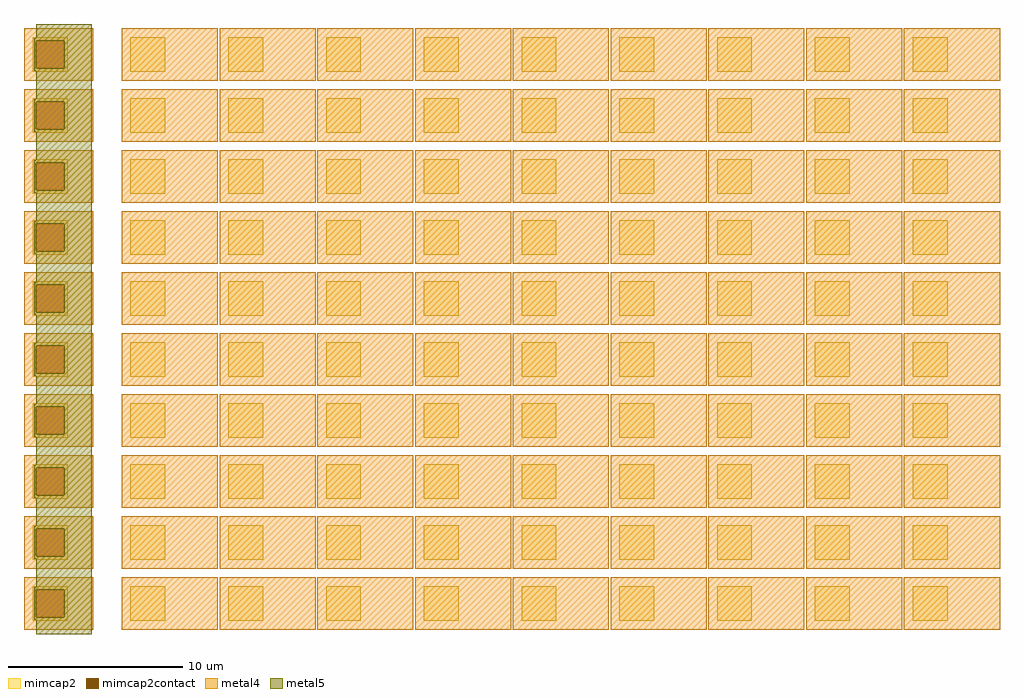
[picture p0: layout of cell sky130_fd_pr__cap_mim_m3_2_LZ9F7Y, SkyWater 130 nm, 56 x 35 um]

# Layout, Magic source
magic
tech sky130A
<< metal4 >>
rect -2800 1425 -2403 1725
rect -2238 1425 -1688 1725
rect -1678 1425 -1127 1725
rect -1117 1425 -566 1725
rect -556 1425 -5 1725
rect 5 1425 556 1725
rect 566 1425 1117 1725
rect 1127 1425 1678 1725
rect 1688 1425 2239 1725
rect 2249 1425 2800 1725
rect -2800 1075 -2403 1375
rect -2238 1075 -1688 1375
rect -1678 1075 -1127 1375
rect -1117 1075 -566 1375
rect -556 1075 -5 1375
rect 5 1075 556 1375
rect 566 1075 1117 1375
rect 1127 1075 1678 1375
rect 1688 1075 2239 1375
rect 2249 1075 2800 1375
rect -2800 725 -2403 1025
rect -2238 725 -1688 1025
rect -1678 725 -1127 1025
rect -1117 725 -566 1025
rect -556 725 -5 1025
rect 5 725 556 1025
rect 566 725 1117 1025
rect 1127 725 1678 1025
rect 1688 725 2239 1025
rect 2249 725 2800 1025
rect -2800 375 -2403 675
rect -2238 375 -1688 675
rect -1678 375 -1127 675
rect -1117 375 -566 675
rect -556 375 -5 675
rect 5 375 556 675
rect 566 375 1117 675
rect 1127 375 1678 675
rect 1688 375 2239 675
rect 2249 375 2800 675
rect -2800 25 -2403 325
rect -2238 25 -1688 325
rect -1678 25 -1127 325
rect -1117 25 -566 325
rect -556 25 -5 325
rect 5 25 556 325
rect 566 25 1117 325
rect 1127 25 1678 325
rect 1688 25 2239 325
rect 2249 25 2800 325
rect -2800 -325 -2403 -25
rect -2238 -325 -1688 -25
rect -1678 -325 -1127 -25
rect -1117 -325 -566 -25
rect -556 -325 -5 -25
rect 5 -325 556 -25
rect 566 -325 1117 -25
rect 1127 -325 1678 -25
rect 1688 -325 2239 -25
rect 2249 -325 2800 -25
rect -2800 -675 -2403 -375
rect -2238 -675 -1688 -375
rect -1678 -675 -1127 -375
rect -1117 -675 -566 -375
rect -556 -675 -5 -375
rect 5 -675 556 -375
rect 566 -675 1117 -375
rect 1127 -675 1678 -375
rect 1688 -675 2239 -375
rect 2249 -675 2800 -375
rect -2800 -1025 -2403 -725
rect -2238 -1025 -1688 -725
rect -1678 -1025 -1127 -725
rect -1117 -1025 -566 -725
rect -556 -1025 -5 -725
rect 5 -1025 556 -725
rect 566 -1025 1117 -725
rect 1127 -1025 1678 -725
rect 1688 -1025 2239 -725
rect 2249 -1025 2800 -725
rect -2800 -1375 -2403 -1075
rect -2238 -1375 -1688 -1075
rect -1678 -1375 -1127 -1075
rect -1117 -1375 -566 -1075
rect -556 -1375 -5 -1075
rect 5 -1375 556 -1075
rect 566 -1375 1117 -1075
rect 1127 -1375 1678 -1075
rect 1688 -1375 2239 -1075
rect 2249 -1375 2800 -1075
rect -2800 -1725 -2403 -1425
rect -2238 -1725 -1688 -1425
rect -1678 -1725 -1127 -1425
rect -1117 -1725 -566 -1425
rect -556 -1725 -5 -1425
rect 5 -1725 556 -1425
rect 566 -1725 1117 -1425
rect 1127 -1725 1678 -1425
rect 1688 -1725 2239 -1425
rect 2249 -1725 2800 -1425
<< mimcap2 >>
rect -2750 1655 -2550 1675
rect -2750 1495 -2730 1655
rect -2570 1495 -2550 1655
rect -2750 1475 -2550 1495
rect -2189 1475 -1989 1675
rect -1628 1475 -1428 1675
rect -1067 1475 -867 1675
rect -506 1475 -306 1675
rect 55 1475 255 1675
rect 616 1475 816 1675
rect 1177 1475 1377 1675
rect 1738 1475 1938 1675
rect 2299 1475 2499 1675
rect -2750 1305 -2550 1325
rect -2750 1145 -2730 1305
rect -2570 1145 -2550 1305
rect -2750 1125 -2550 1145
rect -2189 1125 -1989 1325
rect -1628 1125 -1428 1325
rect -1067 1125 -867 1325
rect -506 1125 -306 1325
rect 55 1125 255 1325
rect 616 1125 816 1325
rect 1177 1125 1377 1325
rect 1738 1125 1938 1325
rect 2299 1125 2499 1325
rect -2750 955 -2550 975
rect -2750 795 -2730 955
rect -2570 795 -2550 955
rect -2750 775 -2550 795
rect -2189 775 -1989 975
rect -1628 775 -1428 975
rect -1067 775 -867 975
rect -506 775 -306 975
rect 55 775 255 975
rect 616 775 816 975
rect 1177 775 1377 975
rect 1738 775 1938 975
rect 2299 775 2499 975
rect -2750 605 -2550 625
rect -2750 445 -2730 605
rect -2570 445 -2550 605
rect -2750 425 -2550 445
rect -2189 425 -1989 625
rect -1628 425 -1428 625
rect -1067 425 -867 625
rect -506 425 -306 625
rect 55 425 255 625
rect 616 425 816 625
rect 1177 425 1377 625
rect 1738 425 1938 625
rect 2299 425 2499 625
rect -2750 255 -2550 275
rect -2750 95 -2730 255
rect -2570 95 -2550 255
rect -2750 75 -2550 95
rect -2189 75 -1989 275
rect -1628 75 -1428 275
rect -1067 75 -867 275
rect -506 75 -306 275
rect 55 75 255 275
rect 616 75 816 275
rect 1177 75 1377 275
rect 1738 75 1938 275
rect 2299 75 2499 275
rect -2750 -95 -2550 -75
rect -2750 -255 -2730 -95
rect -2570 -255 -2550 -95
rect -2750 -275 -2550 -255
rect -2189 -275 -1989 -75
rect -1628 -275 -1428 -75
rect -1067 -275 -867 -75
rect -506 -275 -306 -75
rect 55 -275 255 -75
rect 616 -275 816 -75
rect 1177 -275 1377 -75
rect 1738 -275 1938 -75
rect 2299 -275 2499 -75
rect -2750 -445 -2550 -425
rect -2750 -605 -2730 -445
rect -2570 -605 -2550 -445
rect -2750 -625 -2550 -605
rect -2189 -625 -1989 -425
rect -1628 -625 -1428 -425
rect -1067 -625 -867 -425
rect -506 -625 -306 -425
rect 55 -625 255 -425
rect 616 -625 816 -425
rect 1177 -625 1377 -425
rect 1738 -625 1938 -425
rect 2299 -625 2499 -425
rect -2750 -795 -2550 -775
rect -2750 -955 -2730 -795
rect -2570 -955 -2550 -795
rect -2750 -975 -2550 -955
rect -2189 -975 -1989 -775
rect -1628 -975 -1428 -775
rect -1067 -975 -867 -775
rect -506 -975 -306 -775
rect 55 -975 255 -775
rect 616 -975 816 -775
rect 1177 -975 1377 -775
rect 1738 -975 1938 -775
rect 2299 -975 2499 -775
rect -2750 -1145 -2550 -1125
rect -2750 -1305 -2730 -1145
rect -2570 -1305 -2550 -1145
rect -2750 -1325 -2550 -1305
rect -2189 -1325 -1989 -1125
rect -1628 -1325 -1428 -1125
rect -1067 -1325 -867 -1125
rect -506 -1325 -306 -1125
rect 55 -1325 255 -1125
rect 616 -1325 816 -1125
rect 1177 -1325 1377 -1125
rect 1738 -1325 1938 -1125
rect 2299 -1325 2499 -1125
rect -2750 -1495 -2550 -1475
rect -2750 -1655 -2730 -1495
rect -2570 -1655 -2550 -1495
rect -2750 -1675 -2550 -1655
rect -2189 -1675 -1989 -1475
rect -1628 -1675 -1428 -1475
rect -1067 -1675 -867 -1475
rect -506 -1675 -306 -1475
rect 55 -1675 255 -1475
rect 616 -1675 816 -1475
rect 1177 -1675 1377 -1475
rect 1738 -1675 1938 -1475
rect 2299 -1675 2499 -1475
<< mimcap2contact >>
rect -2730 1495 -2570 1655
rect -2730 1145 -2570 1305
rect -2730 795 -2570 955
rect -2730 445 -2570 605
rect -2730 95 -2570 255
rect -2730 -255 -2570 -95
rect -2730 -605 -2570 -445
rect -2730 -955 -2570 -795
rect -2730 -1305 -2570 -1145
rect -2730 -1655 -2570 -1495
<< metal5 >>
rect -2730 1667 -2410 1750
rect -2742 1655 -2410 1667
rect -2742 1495 -2730 1655
rect -2570 1495 -2410 1655
rect -2742 1483 -2410 1495
rect -2730 1317 -2410 1483
rect -2742 1305 -2410 1317
rect -2742 1145 -2730 1305
rect -2570 1145 -2410 1305
rect -2742 1133 -2410 1145
rect -2730 967 -2410 1133
rect -2742 955 -2410 967
rect -2742 795 -2730 955
rect -2570 795 -2410 955
rect -2742 783 -2410 795
rect -2730 617 -2410 783
rect -2742 605 -2410 617
rect -2742 445 -2730 605
rect -2570 445 -2410 605
rect -2742 433 -2410 445
rect -2730 267 -2410 433
rect -2742 255 -2410 267
rect -2742 95 -2730 255
rect -2570 95 -2410 255
rect -2742 83 -2410 95
rect -2730 -83 -2410 83
rect -2742 -95 -2410 -83
rect -2742 -255 -2730 -95
rect -2570 -255 -2410 -95
rect -2742 -267 -2410 -255
rect -2730 -433 -2410 -267
rect -2742 -445 -2410 -433
rect -2742 -605 -2730 -445
rect -2570 -605 -2410 -445
rect -2742 -617 -2410 -605
rect -2730 -783 -2410 -617
rect -2742 -795 -2410 -783
rect -2742 -955 -2730 -795
rect -2570 -955 -2410 -795
rect -2742 -967 -2410 -955
rect -2730 -1133 -2410 -967
rect -2742 -1145 -2410 -1133
rect -2742 -1305 -2730 -1145
rect -2570 -1305 -2410 -1145
rect -2742 -1317 -2410 -1305
rect -2730 -1483 -2410 -1317
rect -2742 -1495 -2410 -1483
rect -2742 -1655 -2730 -1495
rect -2570 -1655 -2410 -1495
rect -2742 -1667 -2410 -1655
rect -2730 -1750 -2410 -1667
<< properties >>
string gencell sky130_fd_pr__cap_mim_m3_2
string FIXED_BBOX 2249 1425 2549 1725
string parameters w 2.00 l 2.00 val 5.36 carea 1.00 cperi 0.17 nx 10 ny 10 dummy 0 square 1 lmin 2.00 wmin 2.00 lmax 30.0 wmax 30.0 dc 0 bconnect 1 tconnect 1 ccov 100
string library sky130
<< end >>
